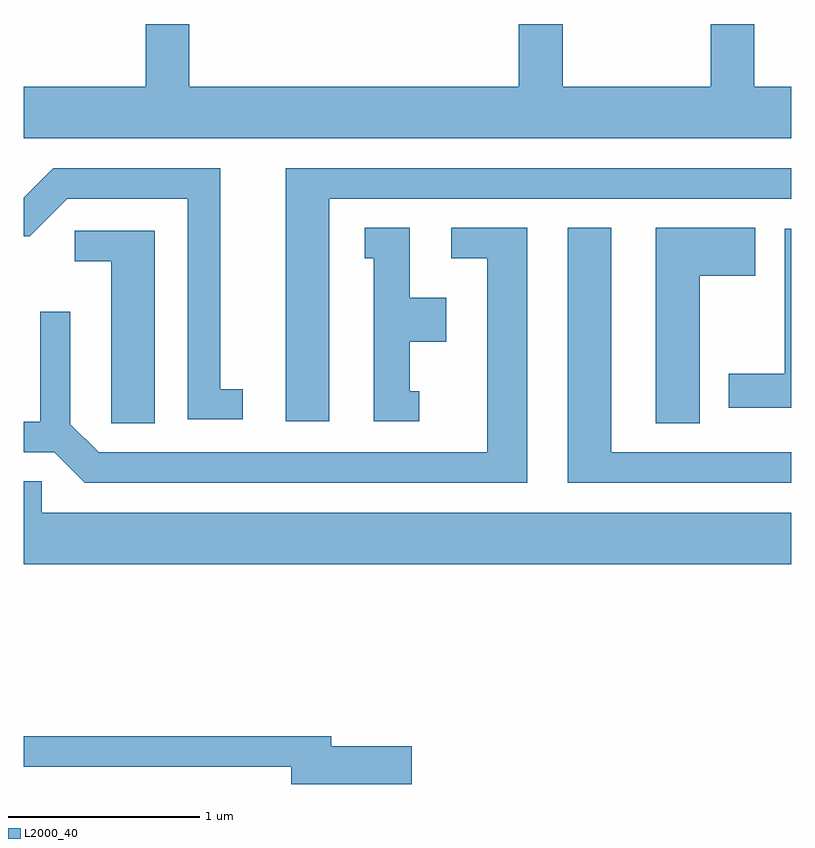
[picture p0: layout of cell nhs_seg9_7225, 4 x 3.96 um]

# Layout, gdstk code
import gdstk
lib = gdstk.Library(unit=1e-6, precision=1e-09)
def P(c, l, *ps):  # polygons
    for p in ps: c.add(gdstk.Polygon(p, *l))
L2000_40 = (2000, 40)

nhs_seg9_7225 = lib.new_cell('nhs_seg9_7225')
P(nhs_seg9_7225, L2000_40, [(403.611,1972.104),(403.419,1972.104),(403.419,1972.432),(403.191,1972.432),(403.191,1972.104),(402.419,1972.104),(402.419,1972.432),(402.191,1972.432),(402.191,1972.104),(400.474,1972.104),(400.474,1972.432),(400.246,1972.432),(400.246,1972.104),(399.611,1972.104),(399.611,1971.836),(403.611,1971.836)],
  [(401.204,1971.521),(403.611,1971.521),(403.611,1971.679),(400.976,1971.679),(400.976,1970.361),(401.204,1970.361)],
  [(400.753,1970.529),(400.634,1970.529),(400.634,1971.679),(399.764,1971.679),(399.611,1971.526),(399.611,1971.326),(399.642,1971.326),(399.837,1971.521),(400.466,1971.521),(400.466,1970.371),(400.753,1970.371)],
  [(402.234,1971.369),(401.838,1971.369),(401.838,1971.211),(402.026,1971.211),(402.026,1970.199),(400.002,1970.199),(399.854,1970.347),(399.854,1970.933),(399.696,1970.933),(399.696,1970.359),(399.611,1970.359),(399.611,1970.201),(399.769,1970.201),(399.929,1970.041),(402.234,1970.041)],
  [(401.673,1970.519),(401.624,1970.519),(401.624,1970.776),(401.814,1970.776),(401.814,1971.004),(401.624,1971.004),(401.624,1971.369),(401.388,1971.369),(401.388,1971.211),(401.436,1971.211),(401.436,1970.361),(401.673,1970.361)],
  [(403.611,1970.199),(402.674,1970.199),(402.674,1971.369),(402.446,1971.369),(402.446,1970.041),(403.611,1970.041)],
  [(403.134,1971.121),(403.424,1971.121),(403.424,1971.369),(402.906,1971.369),(402.906,1970.351),(403.134,1970.351)],
  [(403.611,1971.364),(403.576,1971.364),(403.576,1970.609),(403.286,1970.609),(403.286,1970.431),(403.611,1970.431)],
  [(400.294,1971.354),(399.878,1971.354),(399.878,1971.196),(400.066,1971.196),(400.066,1970.351),(400.294,1970.351)],
  [(403.611,1969.884),(399.704,1969.884),(399.704,1970.049),(399.611,1970.049),(399.611,1969.616),(403.611,1969.616)],
  [(401.634,1968.669),(401.214,1968.669),(401.214,1968.719),(399.611,1968.719),(399.611,1968.561),(401.006,1968.561),(401.006,1968.471),(401.634,1968.471)])

lib.write_gds('nhs_seg9_7225.gds')
